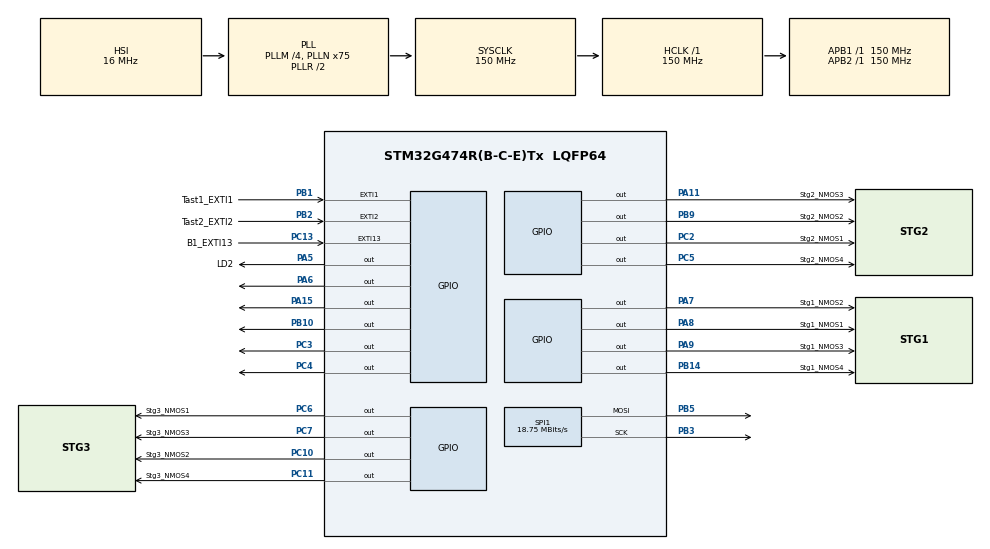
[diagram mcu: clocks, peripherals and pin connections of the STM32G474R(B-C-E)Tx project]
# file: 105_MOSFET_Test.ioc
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Mcu.Family=STM32G4
Mcu.Name=STM32G474R(B-C-E)Tx
Mcu.Package=LQFP64
NVIC.EXTI15_10_IRQn=true\:0\:0\:false\:false\:true\:true\:true\:true
NVIC.EXTI1_IRQn=true\:0\:0\:false\:false\:true\:true\:true\:true
NVIC.EXTI2_IRQn=true\:0\:0\:false\:false\:true\:true\:true\:true
NVIC.PriorityGroup=NVIC_PRIORITYGROUP_4
NVIC.TIM1_UP_TIM16_IRQn=true\:0\:0\:false\:false\:true\:true\:true\:true
PA11.GPIO_Label=Stg2_NMOS3
PA11.Signal=GPIO_Output
PA13.Mode=Serial_Wire
PA13.Signal=SYS_JTMS-SWDIO
PA14.Mode=Serial_Wire
PA14.Signal=SYS_JTCK-SWCLK
PA15.Signal=GPIO_Output
PA5.GPIO_Label=LD2
PA5.Signal=GPIO_Output
PA6.Signal=GPIO_Output
PA7.GPIO_Label=Stg1_NMOS2
PA7.Signal=GPIO_Output
PA8.GPIO_Label=Stg1_NMOS1
PA8.Signal=GPIO_Output
PA9.GPIO_Label=Stg1_NMOS3
PA9.Signal=GPIO_Output
PB1.GPIO_Label=Tast1_EXTI1
PB1.GPIO_ModeDefaultEXTI=GPIO_MODE_IT_RISING
PB1.GPIO_PuPd=GPIO_PULLDOWN
PB1.Signal=GPXTI1
PB10.Signal=GPIO_Output
PB14.GPIO_Label=Stg1_NMOS4
PB14.Signal=GPIO_Output
PB2.GPIO_Label=Tast2_EXTI2
PB2.GPIO_PuPd=GPIO_PULLDOWN
PB2.Signal=GPXTI2
PB3.Mode=TX_Only_Simplex_Unidirect_Master
PB3.Signal=SPI1_SCK
PB5.Mode=TX_Only_Simplex_Unidirect_Master
PB5.Signal=SPI1_MOSI
PB9.GPIO_Label=Stg2_NMOS2
PB9.Signal=GPIO_Output
PC10.GPIO_Label=Stg3_NMOS2
PC10.Signal=GPIO_Output
PC11.GPIO_Label=Stg3_NMOS4
PC11.Signal=GPIO_Output
PC13.GPIO_Label=B1_EXTI13
PC13.GPIO_ModeDefaultEXTI=GPIO_MODE_IT_RISING
PC13.GPIO_PuPd=GPIO_NOPULL
PC13.Signal=GPXTI13
PC2.GPIO_Label=Stg2_NMOS1
PC2.Signal=GPIO_Output
PC3.Signal=GPIO_Output
PC4.Signal=GPIO_Output
PC5.GPIO_Label=Stg2_NMOS4
PC5.Signal=GPIO_Output
PC6.GPIO_Label=Stg3_NMOS1
PC6.Signal=GPIO_Output
PC7.GPIO_Label=Stg3_NMOS3
PC7.Signal=GPIO_Output
PF0-OSC_IN.Mode=HSE-External-Oscillator
PF0-OSC_IN.Signal=RCC_OSC_IN
PF1-OSC_OUT.Mode=HSE-External-Oscillator
PF1-OSC_OUT.Signal=RCC_OSC_OUT
ProjectManager.HeapSize=0x200
ProjectManager.StackSize=0x400
ProjectManager.TargetToolchain=STM32CubeIDE
RCC.ADC12Freq_Value=150000000
RCC.ADC345Freq_Value=150000000
RCC.AHBFreq_Value=150000000
RCC.APB1Freq_Value=150000000
RCC.APB1TimFreq_Value=150000000
RCC.APB2Freq_Value=150000000
RCC.APB2TimFreq_Value=150000000
RCC.CortexFreq_Value=150000000
RCC.EXTERNAL_CLOCK_VALUE=12288000
RCC.HCLKFreq_Value=150000000
RCC.HSE_VALUE=48000000
RCC.HSI48_VALUE=48000000
RCC.HSI_VALUE=16000000
RCC.LSE_VALUE=32768
RCC.PLLM=RCC_PLLM_DIV4
RCC.PLLN=75
RCC.SYSCLKFreq_VALUE=150000000
RCC.SYSCLKSource=RCC_SYSCLKSOURCE_PLLCLK
RCC.USBFreq_Value=150000000
RCC.VCOOutputFreq_Value=300000000
SPI1.BaudRatePrescaler=SPI_BAUDRATEPRESCALER_8
SPI1.CLKPolarity=SPI_POLARITY_LOW
SPI1.CalculateBaudRate=18.75 MBits/s
SPI1.DataSize=SPI_DATASIZE_8BIT
SPI1.Direction=SPI_DIRECTION_2LINES
SPI1.Mode=SPI_MODE_MASTER
SPI1.VirtualType=VM_MASTER
TIM16.PeriodNoDither=1000
TIM16.Prescaler=15000 - 1
VP_SYS_VS_DBSignals.Mode=DisableDeadBatterySignals
VP_TIM16_VS_ClockSourceINT.Mode=Enable_Timer
board=custom

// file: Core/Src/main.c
/* USER CODE BEGIN Header */
/**
 ******************************************************************************
 * @file           : main.c
 * @brief          : Main program body
 ******************************************************************************
 Mit diesem Code werden die MOSFETs der H-Brücke diagonal geschaltet.
 Im State ON1 sind:
 - Stg1_NMOS1, NMOS4 = HIGH
 - NMOS2, NMOS3 = LOW
 Im State ON2 sind:
 - Stg1_NMOS1, NMOS4 = LOW
 - NMOS2, NMOS3 = HIGH
 Für den Test der Stages 1-3 müssen die GPIO in der funktion enter_handler_state()
 angepasst werden.
 ******************************************************************************
 */
/* USER CODE END Header */
#include "main.h"

/* USER CODE BEGIN Includes */
#include "ST7735.h"
#include "GFX_FUNCTIONS.h"
#include "task_handler.h"
#include <stdbool.h>
/* USER CODE END Includes */

SPI_HandleTypeDef hspi1;

TIM_HandleTypeDef htim16;

void SystemClock_Config(void);
static void MX_GPIO_Init(void);
static void MX_SPI1_Init(void);
static void MX_TIM16_Init(void);

/* USER CODE BEGIN 0 */

/* Interrupts *****************************************************************/
// GPIO Callback
void HAL_GPIO_EXTI_Callback(uint16_t GPIO_Pin) {
	/* Prevent unused argument(s) compilation warning */
	UNUSED(GPIO_Pin);
	// Interrupt Routine
	switch (GPIO_Pin) {
	case B1_PIN: // B1 pressed
		switch (handler_state) {
		case IDLE:
			set_handler_state(ON1);
			break;
		case ON1:
			set_handler_state(ON2);
			break;
		case ON2:
			set_handler_state(ON1);
			break;
		default:
			set_handler_state(IDLE);
			break;
		}
		break;
	case Tast1_PIN: // Taster1 pressed
		set_handler_state(IDLE);
		break;
	case Tast2_PIN: // Taster2 pressed
		break;
	default:
		break;
	}
}

// Timer timeout Callback
void HAL_TIM_PeriodElapsedCallback(TIM_HandleTypeDef *htim) {

	// Überprüfe welcher Timer diese callback Funktion aufruft
	if (htim == &htim16) {
		// Toggle PC3 alle 100ms
		HAL_GPIO_TogglePin(GPIOC, GPIO_PIN_3);
		// Handler Zeit um 100ms erhöhen
		if (handler_state == ON2) {
			inc_handler_currentTime(100);
		}
	}
}

/* USER CODE END 0 */

int main(void)
{

  /* MCU Configuration--------------------------------------------------------*/

  /* Reset of all peripherals, Initializes the Flash interface and the Systick. */
  HAL_Init();

  /* Configure the system clock */
  SystemClock_Config();

  /* Initialize all configured peripherals */
  MX_GPIO_Init();
  MX_SPI1_Init();
  MX_TIM16_Init();
  /* USER CODE BEGIN 2 */

	// Display Init
	ST7735_Init(1);
	fillScreen(BLACK);

	// Start Timer 16
	HAL_TIM_Base_Start_IT(&htim16); // Starte Timer 16 im Interrupt Modus

	// Set first State
	set_handler_state(IDLE);

  /* USER CODE END 2 */

  /* Infinite loop */
	while (1) {

    /* USER CODE BEGIN 3 */
		// Run StateMachine
		handler_task();
	}
  /* USER CODE END 3 */
}

void SystemClock_Config(void)
{
  RCC_OscInitTypeDef RCC_OscInitStruct = {0};
  RCC_ClkInitTypeDef RCC_ClkInitStruct = {0};

  /** Configure the main internal regulator output voltage
  */
  HAL_PWREx_ControlVoltageScaling(PWR_REGULATOR_VOLTAGE_SCALE1);

  /** Initializes the RCC Oscillators according to the specified parameters
  * in the RCC_OscInitTypeDef structure.
  */
  RCC_OscInitStruct.OscillatorType = RCC_OSCILLATORTYPE_HSI;
  RCC_OscInitStruct.HSIState = RCC_HSI_ON;
  RCC_OscInitStruct.HSICalibrationValue = RCC_HSICALIBRATION_DEFAULT;
  RCC_OscInitStruct.PLL.PLLState = RCC_PLL_ON;
  RCC_OscInitStruct.PLL.PLLSource = RCC_PLLSOURCE_HSI;
  RCC_OscInitStruct.PLL.PLLM = RCC_PLLM_DIV4;
  RCC_OscInitStruct.PLL.PLLN = 75;
  RCC_OscInitStruct.PLL.PLLP = RCC_PLLP_DIV2;
  RCC_OscInitStruct.PLL.PLLQ = RCC_PLLQ_DIV2;
  RCC_OscInitStruct.PLL.PLLR = RCC_PLLR_DIV2;
  if (HAL_RCC_OscConfig(&RCC_OscInitStruct) != HAL_OK)
  {
    Error_Handler();
  }

  /** Initializes the CPU, AHB and APB buses clocks
  */
  RCC_ClkInitStruct.ClockType = RCC_CLOCKTYPE_HCLK|RCC_CLOCKTYPE_SYSCLK
                              |RCC_CLOCKTYPE_PCLK1|RCC_CLOCKTYPE_PCLK2;
  RCC_ClkInitStruct.SYSCLKSource = RCC_SYSCLKSOURCE_PLLCLK;
  RCC_ClkInitStruct.AHBCLKDivider = RCC_SYSCLK_DIV1;
  RCC_ClkInitStruct.APB1CLKDivider = RCC_HCLK_DIV1;
  RCC_ClkInitStruct.APB2CLKDivider = RCC_HCLK_DIV1;

  if (HAL_RCC_ClockConfig(&RCC_ClkInitStruct, FLASH_LATENCY_4) != HAL_OK)
  {
    Error_Handler();
  }
}

static void MX_SPI1_Init(void)
{

  /* SPI1 parameter configuration*/
  hspi1.Instance = SPI1;
  hspi1.Init.Mode = SPI_MODE_MASTER;
  hspi1.Init.Direction = SPI_DIRECTION_2LINES;
  hspi1.Init.DataSize = SPI_DATASIZE_8BIT;
  hspi1.Init.CLKPolarity = SPI_POLARITY_LOW;
  hspi1.Init.CLKPhase = SPI_PHASE_1EDGE;
  hspi1.Init.NSS = SPI_NSS_SOFT;
  hspi1.Init.BaudRatePrescaler = SPI_BAUDRATEPRESCALER_8;
  hspi1.Init.FirstBit = SPI_FIRSTBIT_MSB;
  hspi1.Init.TIMode = SPI_TIMODE_DISABLE;
  hspi1.Init.CRCCalculation = SPI_CRCCALCULATION_DISABLE;
  hspi1.Init.CRCPolynomial = 7;
  hspi1.Init.CRCLength = SPI_CRC_LENGTH_DATASIZE;
  hspi1.Init.NSSPMode = SPI_NSS_PULSE_ENABLE;
  if (HAL_SPI_Init(&hspi1) != HAL_OK)
  {
    Error_Handler();
  }

}

static void MX_TIM16_Init(void)
{

  htim16.Instance = TIM16;
  htim16.Init.Prescaler = 15000 - 1;
  htim16.Init.CounterMode = TIM_COUNTERMODE_UP;
  htim16.Init.Period = 1000;
  htim16.Init.ClockDivision = TIM_CLOCKDIVISION_DIV1;
  htim16.Init.RepetitionCounter = 0;
  htim16.Init.AutoReloadPreload = TIM_AUTORELOAD_PRELOAD_DISABLE;
  if (HAL_TIM_Base_Init(&htim16) != HAL_OK)
  {
    Error_Handler();
  }

}

static void MX_GPIO_Init(void)
{
  GPIO_InitTypeDef GPIO_InitStruct = {0};

  /* GPIO Ports Clock Enable */
  __HAL_RCC_GPIOC_CLK_ENABLE();
  __HAL_RCC_GPIOF_CLK_ENABLE();
  __HAL_RCC_GPIOA_CLK_ENABLE();
  __HAL_RCC_GPIOB_CLK_ENABLE();

  /*Configure GPIO pin Output Level */
  HAL_GPIO_WritePin(GPIOC, Stg2_NMOS1_Pin|GPIO_PIN_3|GPIO_PIN_4|Stg2_NMOS4_Pin
                          |Stg3_NMOS1_Pin|Stg3_NMOS3_Pin|Stg3_NMOS2_Pin|Stg3_NMOS4_Pin, GPIO_PIN_RESET);

  /*Configure GPIO pin Output Level */
  HAL_GPIO_WritePin(GPIOA, LD2_Pin|GPIO_PIN_6|Stg1_NMOS2_Pin|Stg1_NMOS1_Pin
                          |Stg1_NMOS3_Pin|Stg2_NMOS3_Pin|GPIO_PIN_15, GPIO_PIN_RESET);

  /*Configure GPIO pin Output Level */
  HAL_GPIO_WritePin(GPIOB, GPIO_PIN_10|Stg1_NMOS4_Pin|Stg2_NMOS2_Pin, GPIO_PIN_RESET);

  /*Configure GPIO pin : B1_EXTI13_Pin */
  GPIO_InitStruct.Pin = B1_EXTI13_Pin;
  GPIO_InitStruct.Mode = GPIO_MODE_IT_RISING;
  GPIO_InitStruct.Pull = GPIO_NOPULL;
  HAL_GPIO_Init(B1_EXTI13_GPIO_Port, &GPIO_InitStruct);

  /*Configure GPIO pins : Stg2_NMOS1_Pin PC3 PC4 Stg2_NMOS4_Pin
                           Stg3_NMOS1_Pin Stg3_NMOS3_Pin Stg3_NMOS2_Pin Stg3_NMOS4_Pin */
  GPIO_InitStruct.Pin = Stg2_NMOS1_Pin|GPIO_PIN_3|GPIO_PIN_4|Stg2_NMOS4_Pin
                          |Stg3_NMOS1_Pin|Stg3_NMOS3_Pin|Stg3_NMOS2_Pin|Stg3_NMOS4_Pin;
  GPIO_InitStruct.Mode = GPIO_MODE_OUTPUT_PP;
  GPIO_InitStruct.Pull = GPIO_NOPULL;
  GPIO_InitStruct.Speed = GPIO_SPEED_FREQ_LOW;
  HAL_GPIO_Init(GPIOC, &GPIO_InitStruct);

  /*Configure GPIO pins : LD2_Pin PA6 Stg1_NMOS2_Pin Stg1_NMOS1_Pin
                           Stg1_NMOS3_Pin Stg2_NMOS3_Pin PA15 */
  GPIO_InitStruct.Pin = LD2_Pin|GPIO_PIN_6|Stg1_NMOS2_Pin|Stg1_NMOS1_Pin
                          |Stg1_NMOS3_Pin|Stg2_NMOS3_Pin|GPIO_PIN_15;
  GPIO_InitStruct.Mode = GPIO_MODE_OUTPUT_PP;
  GPIO_InitStruct.Pull = GPIO_NOPULL;
  GPIO_InitStruct.Speed = GPIO_SPEED_FREQ_LOW;
  HAL_GPIO_Init(GPIOA, &GPIO_InitStruct);

  /*Configure GPIO pins : Tast1_EXTI1_Pin Tast2_EXTI2_Pin */
  GPIO_InitStruct.Pin = Tast1_EXTI1_Pin|Tast2_EXTI2_Pin;
  GPIO_InitStruct.Mode = GPIO_MODE_IT_RISING;
  GPIO_InitStruct.Pull = GPIO_PULLDOWN;
  HAL_GPIO_Init(GPIOB, &GPIO_InitStruct);

  /*Configure GPIO pins : PB10 Stg1_NMOS4_Pin Stg2_NMOS2_Pin */
  GPIO_InitStruct.Pin = GPIO_PIN_10|Stg1_NMOS4_Pin|Stg2_NMOS2_Pin;
  GPIO_InitStruct.Mode = GPIO_MODE_OUTPUT_PP;
  GPIO_InitStruct.Pull = GPIO_NOPULL;
  GPIO_InitStruct.Speed = GPIO_SPEED_FREQ_LOW;
  HAL_GPIO_Init(GPIOB, &GPIO_InitStruct);

  /* EXTI interrupt init*/
  HAL_NVIC_SetPriority(EXTI1_IRQn, 0, 0);
  HAL_NVIC_EnableIRQ(EXTI1_IRQn);

  HAL_NVIC_SetPriority(EXTI2_IRQn, 0, 0);
  HAL_NVIC_EnableIRQ(EXTI2_IRQn);

  HAL_NVIC_SetPriority(EXTI15_10_IRQn, 0, 0);
  HAL_NVIC_EnableIRQ(EXTI15_10_IRQn);

}

void Error_Handler(void)
{
	__disable_irq();
	while (1) {
	}
}
